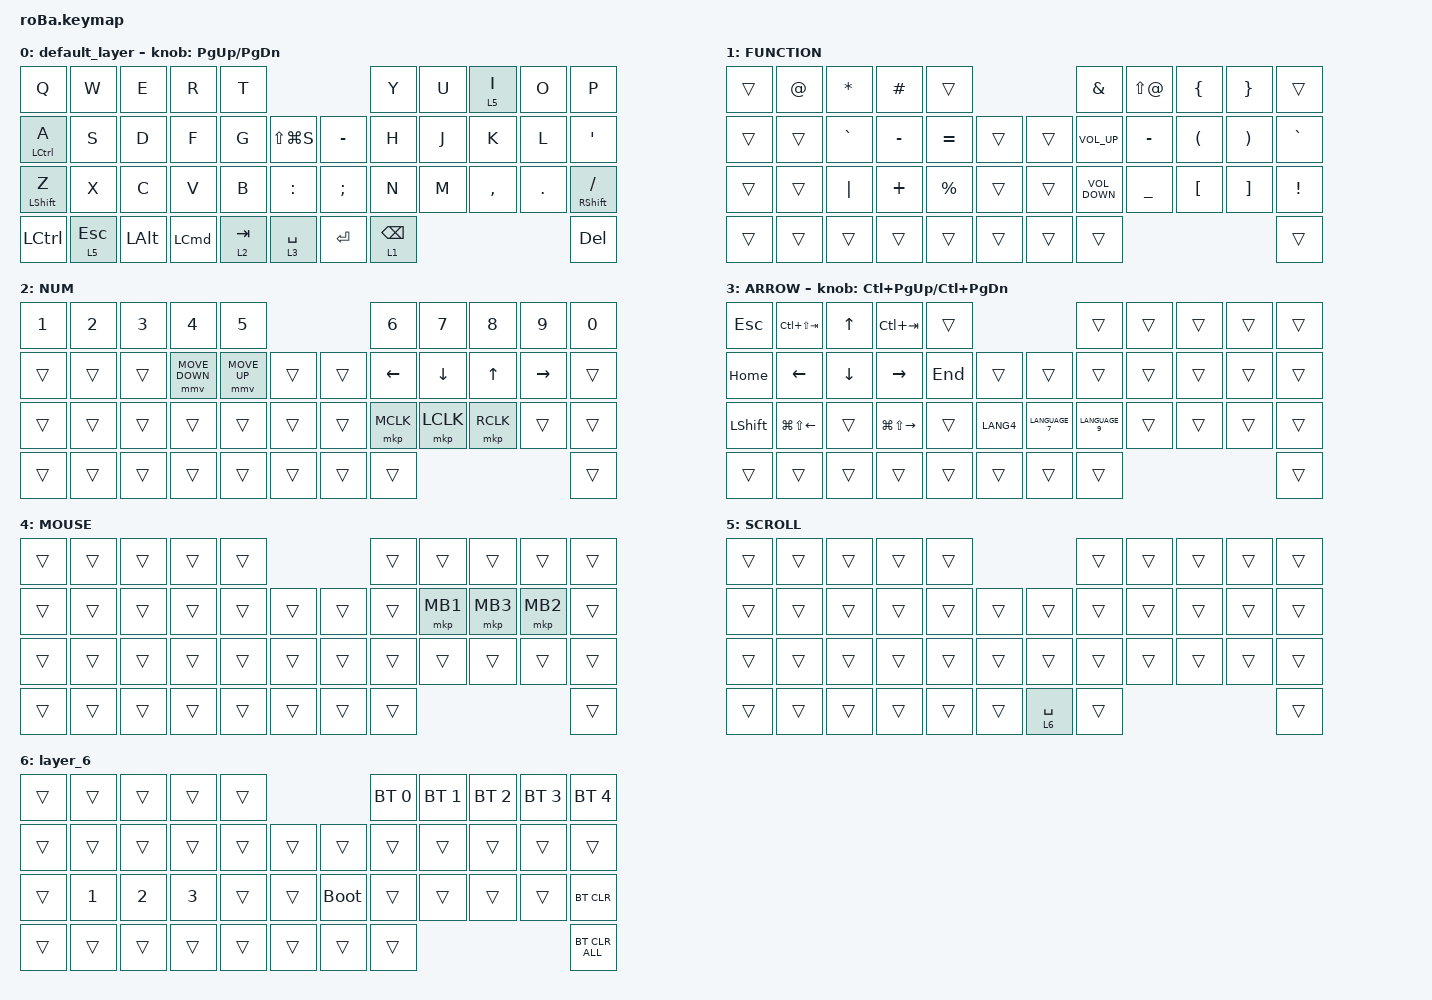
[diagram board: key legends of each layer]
#include <behaviors.dtsi>
#include <dt-bindings/zmk/bt.h>
#include <dt-bindings/zmk/keys.h>
#include <dt-bindings/zmk/pointing.h>

#define MOUSE 4
#define SCROLL 5
#define NUM 6

&mt {
    flavor = "balanced";
    quick-tap-ms = <0>;
};

/ {
    combos {
        compatible = "zmk,combos";

        tab {
            bindings = <&kp TAB>;
            key-positions = <11 12>;
        };

        shift_tab {
            bindings = <&kp LS(TAB)>;
            key-positions = <12 13>;
        };

        muhennkann {
            bindings = <&to_layer_0 INT_MUHENKAN>;
            key-positions = <11 10>;
        };

        double_quotation {
            bindings = <&kp DOUBLE_QUOTES>;
            key-positions = <20 21>;
        };

        eq {
            bindings = <&kp EQUAL>;
            key-positions = <24 25>;
        };
    };

    macros {
        to_layer_0: to_layer_0 {
            compatible = "zmk,behavior-macro-one-param";
            #binding-cells = <1>;
            bindings = <&to 0 &macro_param_1to1 &kp MACRO_PLACEHOLDER>;
            label = "TO_LAYER_0";
        };
    };

    behaviors {
        lt_to_layer_0: lt_to_layer_0 {
            compatible = "zmk,behavior-hold-tap";
            label = "LAYER_TAP_TO_0";
            bindings = <&mo>, <&to_layer_0>;

            #binding-cells = <2>;
            tapping-term-ms = <200>;
        };
    };

    keymap {
        compatible = "zmk,keymap";

        default_layer {
            bindings = <
&kp Q               &kp W         &kp E         &kp R             &kp T                                        &kp Y            &kp U  &lt 5 I    &kp O    &kp P
&mt LEFT_CONTROL A  &kp S         &kp D         &kp F             &kp G      &kp LS(LG(S))      &kp MINUS      &kp H            &kp J  &kp K      &kp L    &kp SQT
&mt LEFT_SHIFT Z    &kp X         &kp C         &kp V             &kp B      &kp COLON          &kp SEMICOLON  &kp N            &kp M  &kp COMMA  &kp DOT  &mt RIGHT_SHIFT SLASH
&kp LCTRL           &lt 5 ESCAPE  &kp LEFT_ALT  &kp LEFT_COMMAND  &lt 2 TAB  &lt 3 SPACE        &kp RETURN     &lt 1 BACKSPACE                             &kp DEL
            >;

            sensor-bindings = <&inc_dec_kp PG_UP PAGE_DOWN>;
        };

        FUNCTION {
            bindings = <
&trans  &kp AT_SIGN  &kp ASTERISK  &kp HASH   &trans                           &kp AMPERSAND      &kp LS(AT_SIGN)  &kp LEFT_BRACE    &kp RIGHT_BRACE    &trans
&trans  &trans       &kp GRAVE     &kp MINUS  &kp EQUAL    &trans      &trans  &kp C_VOLUME_UP    &kp MINUS        &kp LPAR          &kp RPAR           &kp GRAVE
&trans  &trans       &kp PIPE      &kp PLUS   &kp PERCENT  &trans      &trans  &kp C_VOLUME_DOWN  &kp UNDERSCORE   &kp LEFT_BRACKET  &kp RIGHT_BRACKET  &kp EXCLAMATION
&trans  &trans       &trans        &trans     &trans       &trans      &trans  &trans                                                                   &trans
            >;
        };

        NUM {
            bindings = <
&kp NUMBER_1  &kp NUMBER_2  &kp NUMBER_3  &kp NUMBER_4    &kp N5                            &kp NUMBER_6    &kp NUMBER_7  &kp NUMBER_8  &kp NUMBER_9  &kp NUMBER_0
&trans        &trans        &trans        &mmv MOVE_DOWN  &mmv MOVE_UP  &trans      &trans  &kp LEFT_ARROW  &kp DOWN      &kp UP_ARROW  &kp RIGHT     &trans
&trans        &trans        &trans        &trans          &trans        &trans      &trans  &mkp MCLK       &mkp LCLK     &mkp RCLK     &trans        &trans
&trans        &trans        &trans        &trans          &trans        &trans      &trans  &trans                                                    &trans
            >;
        };

        ARROW {
            bindings = <
&kp ESCAPE      &kp LC(LS(TAB))         &kp UP_ARROW    &kp LC(TAB)              &trans                                  &trans          &trans  &trans  &trans  &trans
&kp HOME        &kp LEFT_ARROW          &kp DOWN_ARROW  &kp RIGHT_ARROW          &kp END  &trans         &trans          &trans          &trans  &trans  &trans  &trans
&kp LEFT_SHIFT  &kp LG(LS(LEFT_ARROW))  &trans          &kp LG(LS(RIGHT_ARROW))  &trans   &kp LANG4      &kp LANGUAGE_7  &kp LANGUAGE_9  &trans  &trans  &trans  &trans
&trans          &trans                  &trans          &trans                   &trans   &trans         &trans          &trans                                  &trans
            >;

            sensor-bindings = <&inc_dec_kp LC(PAGE_UP) LC(PAGE_DOWN)>;
        };

        MOUSE {
            bindings = <
&trans  &trans  &trans  &trans  &trans                      &trans  &trans    &trans    &trans    &trans
&trans  &trans  &trans  &trans  &trans  &trans      &trans  &trans  &mkp MB1  &mkp MB3  &mkp MB2  &trans
&trans  &trans  &trans  &trans  &trans  &trans      &trans  &trans  &trans    &trans    &trans    &trans
&trans  &trans  &trans  &trans  &trans  &trans      &trans  &trans                                &trans
            >;
        };

        SCROLL {
            bindings = <
&trans  &trans  &trans  &trans  &trans                           &trans  &trans  &trans  &trans  &trans
&trans  &trans  &trans  &trans  &trans  &trans      &trans       &trans  &trans  &trans  &trans  &trans
&trans  &trans  &trans  &trans  &trans  &trans      &trans       &trans  &trans  &trans  &trans  &trans
&trans  &trans  &trans  &trans  &trans  &trans      &lt 6 SPACE  &trans                          &trans
            >;
        };

        layer_6 {
            bindings = <
&trans  &trans        &trans        &trans        &trans                           &bt BT_SEL 0  &bt BT_SEL 1  &bt BT_SEL 2  &bt BT_SEL 3  &bt BT_SEL 4
&trans  &trans        &trans        &trans        &trans  &trans      &trans       &trans        &trans        &trans        &trans        &trans
&trans  &kp NUMBER_1  &kp NUMBER_2  &kp NUMBER_3  &trans  &trans      &bootloader  &trans        &trans        &trans        &trans        &bt BT_CLR
&trans  &trans        &trans        &trans        &trans  &trans      &trans       &trans                                                  &bt BT_CLR_ALL
            >;
        };
    };
};
